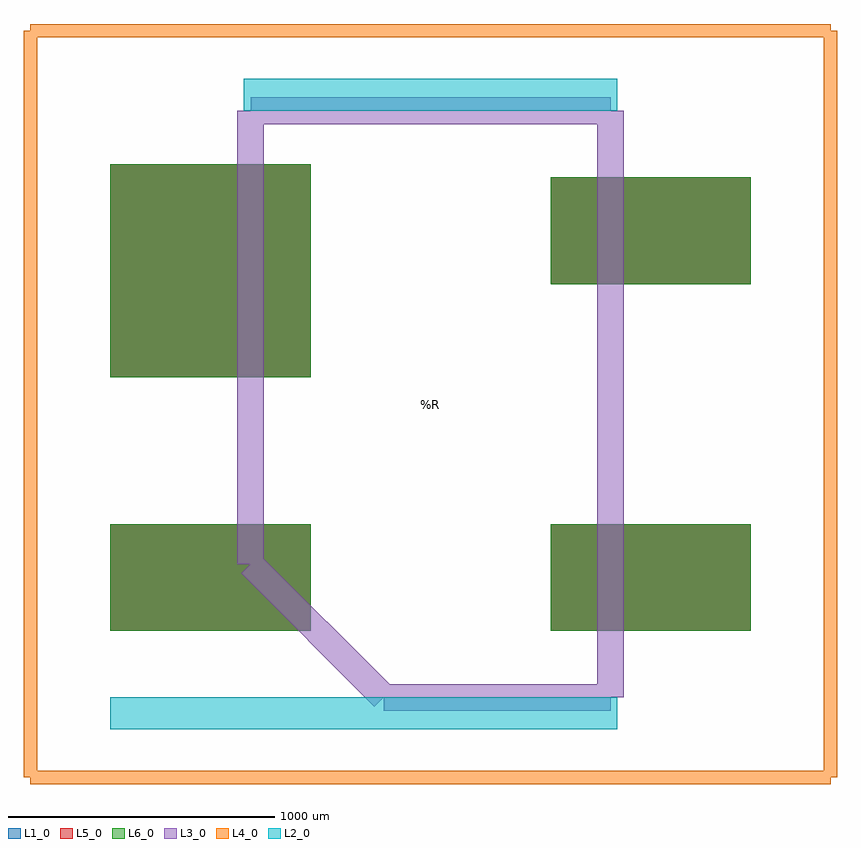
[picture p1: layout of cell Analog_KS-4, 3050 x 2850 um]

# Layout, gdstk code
import gdstk
lib = gdstk.Library(unit=1e-6, precision=1e-09)
def R(c, l, rs):  # rectangles x0, y0, x1, y1
    for r in rs: c.add(gdstk.rectangle(r[:2], r[2:], *l))
L1_0 = (1, 0)
L2_0 = (2, 0)
L3_0 = (3, 0)
L4_0 = (4, 0)
L5_0 = (5, 0)
L6_0 = (6, 0)

analog_ks_4 = lib.new_cell('Analog_KS-4')
R(analog_ks_4, L1_0, [(-1200,-850,-450,-450), (450,-850,1200,-450), (-1200,100,-450,900), (450,450,1200,850)])
R(analog_ks_4, L5_0, [(-1200,-850,-450,-450), (450,-850,1200,-450), (-1200,100,-450,900), (450,450,1200,850)])
R(analog_ks_4, L6_0, [(-1200,-850,-450,-450), (450,-850,1200,-450), (-1200,100,-450,900), (450,450,1200,850)])
analog_ks_4.add(gdstk.FlexPath([(700,-1160),(-1200,-1160)], 120, ends="flush", simple_path=True, layer=2, datatype=0))  # L2_0
analog_ks_4.add(gdstk.FlexPath([(-700,1160),(700,1160)], 120, ends="flush", simple_path=True, layer=2, datatype=0))  # L2_0
analog_ks_4.add(gdstk.FlexPath([(1500,1400),(1500,-1400)], 50, ends="flush", simple_path=True, layer=4, datatype=0))  # L4_0
analog_ks_4.add(gdstk.FlexPath([(-1500,-1400),(-1500,1400)], 50, ends="flush", simple_path=True, layer=4, datatype=0))  # L4_0
analog_ks_4.add(gdstk.FlexPath([(-1500,-1400),(1500,-1400)], 50, ends="flush", simple_path=True, layer=4, datatype=0))  # L4_0
analog_ks_4.add(gdstk.FlexPath([(-1500,1400),(1500,1400)], 50, ends="flush", simple_path=True, layer=4, datatype=0))  # L4_0
analog_ks_4.add(gdstk.FlexPath([(675,-1100),(-175,-1100)], 100, ends="flush", simple_path=True, layer=3, datatype=0))  # L3_0
analog_ks_4.add(gdstk.FlexPath([(-675,-600),(-675,1100)], 100, ends="flush", simple_path=True, layer=3, datatype=0))  # L3_0
analog_ks_4.add(gdstk.FlexPath([(675,-1100),(675,1100)], 100, ends="flush", simple_path=True, layer=3, datatype=0))  # L3_0
analog_ks_4.add(gdstk.FlexPath([(675,1100),(-675,1100)], 100, ends="flush", simple_path=True, layer=3, datatype=0))  # L3_0
analog_ks_4.add(gdstk.FlexPath([(-175,-1100),(-675,-600)], 100, ends="flush", simple_path=True, layer=3, datatype=0))  # L3_0
analog_ks_4.add(gdstk.Label('REF**', (0,-2000), layer=2, texttype=0))
analog_ks_4.add(gdstk.Label('Analog_KS-4', (0,2000), layer=3, texttype=0))
analog_ks_4.add(gdstk.Label('%R', (0,0), layer=3, texttype=0))

lib.write_gds('Analog_KS-4.gds')
